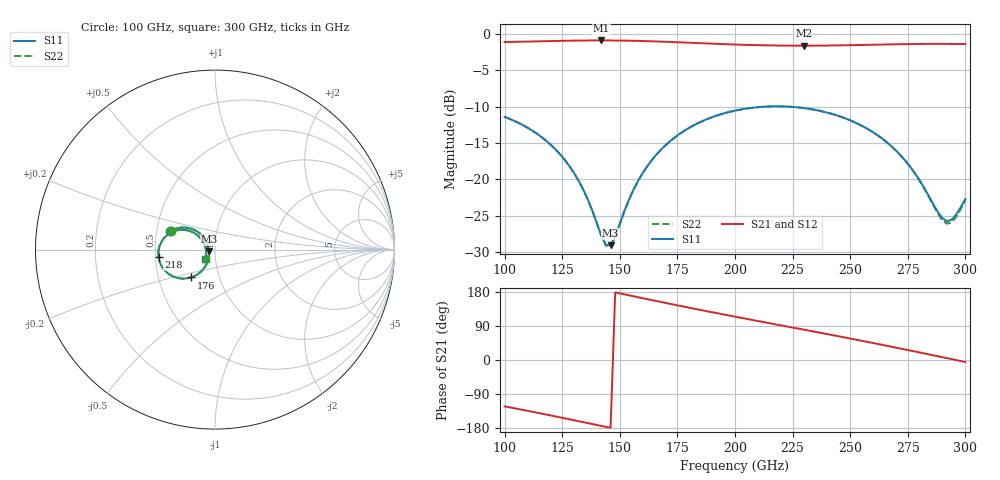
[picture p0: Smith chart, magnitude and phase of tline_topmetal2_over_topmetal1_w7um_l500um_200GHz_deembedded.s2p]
! Created with skrf 2.2.0 (http://scikit-rf.org).
# GHz S DB R 50.0
! Port[1] = P1
! Port[2] = P2
!freq dBS11 angS11 dBS21 angS21 dBS12 angS12 dBS22 angS22
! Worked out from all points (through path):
!   101 points, 100 GHz to 300 GHz, reference 50 ohm
!   highest |S21| = -0.93 dB at 142 GHz (marker M1); lowest = -1.6 dB at 230 GHz (marker M2)
!   group delay of S21, straight-line fit = 3.35 ps
!   lowest |S11| = -29.0 dB at 146 GHz (marker M3), VSWR 1.07, Z = 46.7 - j0.918 ohm
!   |S11| at or under -10 dB: start of sweep to 213.9 GHz; 222.4 GHz to end of sweep
!   |S22| runs from -29.2 to -10.0 dB; largest |S21 - S12| = 1e-14
!   S11 on the Smith chart (normalised r, x): 100 GHz: 0.59, +0.13; 176 GHz: 0.73, -0.24; 218 GHz: 0.52, -0.05; 300 GHz: 0.89, -0.09
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100  -11.42 157.4  -1.15 -122.4  -1.15 -122.4  -11.42 157.4
120  -15.24 138.3  -1.02 -146.4  -1.02 -146.4  -15.24 138.1
128  -18.11 133.3  -0.97 -156.3  -0.97 -156.3  -18.11 133.0
134  -21.30 133.6  -0.95 -163.8  -0.95 -163.8  -21.31 133.2
142  -27.70 157.5  -0.93 -174.0  -0.93 -174.0  -27.79 157.0
144  -28.97 175.1  -0.93 -176.5  -0.93 -176.5  -29.09 174.7
146  -29.01 -163.9  -0.94 -179.1  -0.94 -179.1  -29.15 -163.9
158  -20.15 -120.4  -1.00 165.6  -1.00 165.6  -20.17 -120.2
168  -15.87 -124.3  -1.09 153.0  -1.09 153.0  -15.88 -124.1
176  -13.74 -130.9  -1.19 143.0  -1.19 143.0  -13.74 -130.8
188  -11.71 -142.5  -1.35 128.5  -1.35 128.5  -11.71 -142.4
200  -10.56 -154.5  -1.49 114.4  -1.49 114.4  -10.56 -154.4
218  -9.97 -172.4  -1.62 93.6  -1.62 93.6  -9.97 -172.4
230  -10.21 175.8  -1.65 79.9  -1.65 79.9  -10.21 175.7
234  -10.41 171.9  -1.64 75.3  -1.64 75.3  -10.41 171.8
252  -12.17 155.1  -1.57 54.3  -1.57 54.3  -12.17 154.9
268  -15.48 143.1  -1.47 35.0  -1.47 35.0  -15.49 142.7
278  -19.10 141.6  -1.42 22.5  -1.42 22.5  -19.14 140.7
288  -24.44 161.7  -1.40 10.0  -1.40 10.0  -24.65 160.4
292  -25.72 -175.5  -1.41 4.9  -1.41 4.9  -26.06 -176.0
296  -24.81 -151.3  -1.42 -0.2  -1.42 -0.2  -25.13 -150.7
300  -22.64 -136.3  -1.43 -5.2  -1.43 -5.2  -22.85 -135.3
